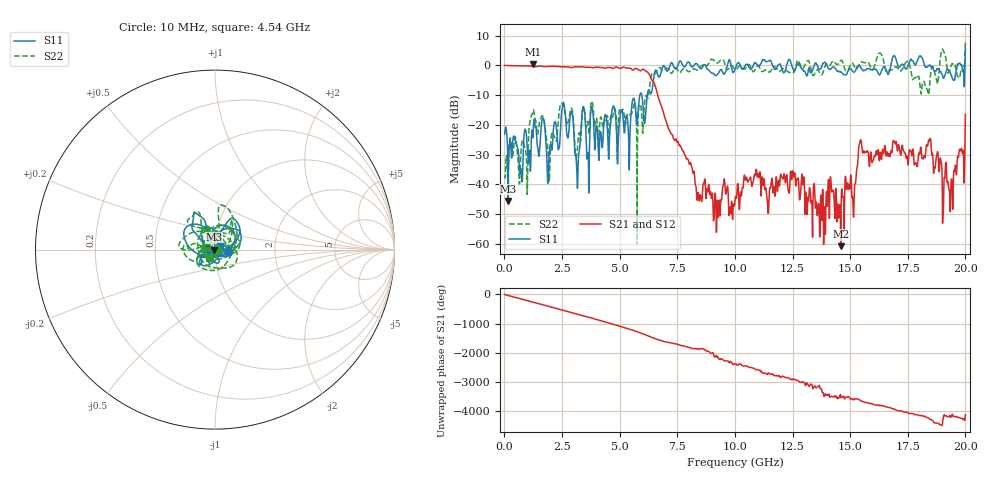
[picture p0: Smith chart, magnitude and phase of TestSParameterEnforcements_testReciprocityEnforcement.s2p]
! File created by SignalIntegrity v1.1.7: Signal and Power Integrity Tools
! https://github.com/TeledyneLeCroy/SignalIntegrity
# MHz MA S R 50.0
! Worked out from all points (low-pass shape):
!   2000 points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, 10 MHz to 20 GHz, reference 50 ohm
!   highest |S21| = 0.43 dB at 1.25 GHz (marker M1); lowest = -60.7 dB at 14.59 GHz (marker M2)
!   |S21| within 3 dB of the highest: start of sweep to 6.245 GHz
!   lowest |S11| = -45.6 dB at 170 MHz (marker M3), VSWR 1.01, Z = 49.5 + j0.0281 ohm
!   |S11| at or under -10 dB: start of sweep to 5.875 GHz; 5.962 GHz to 6.198 GHz (236.5 MHz wide, 3.89 % of centre)
!   |S22| runs from -60.2 to 8.4 dB; largest |S21 - S12| = 0
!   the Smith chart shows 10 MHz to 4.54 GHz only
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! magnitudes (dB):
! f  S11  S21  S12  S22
! 10 MHz  -23.1  0.0  0.0  -37.1
! 170 MHz  -45.6  -0.1  -0.1  -33.6
! 950 MHz  -22.7  -0.2  -0.2  -30.7
! 1.25 GHz  -22.3  0.4  0.4  -15.1
! 1.93 GHz  -31.7  -0.3  -0.3  -35.2
! 2.56 GHz  -12.4  -0.5  -0.5  -13.0
! 3.16 GHz  -39.2  -0.5  -0.5  -28.7
! 3.35 GHz  -18.0  -0.5  -0.5  -19.4
! 3.62 GHz  -29.2  -0.6  -0.6  -18.8
! 3.8 GHz  -14.2  -0.7  -0.7  -12.1
! 5.8 GHz  -15.1  -1.4  -1.4  -18.0
! 6.68 GHz  -3.7  -10.8  -10.8  -1.1
! 8.45 GHz  -0.6  -45.5  -45.5  -1.1
! 10.01 GHz  -1.3  -44.9  -44.9  -1.4
! 13.34 GHz  -2.3  -46.0  -46.0  -2.6
! 14.59 GHz  -2.2  -60.7  -60.7  1.6
! 15.17 GHz  -2.3  -45.2  -45.2  -0.1
! 15.45 GHz  -0.5  -25.0  -25.0  0.9
! 16.67 GHz  -2.8  -29.8  -29.8  -1.8
! 18.41 GHz  -0.1  -25.0  -25.0  -9.7
! 19.37 GHz  -2.9  -40.8  -40.8  -0.5
! 20 GHz  5.6  -16.4  -16.4  8.4
